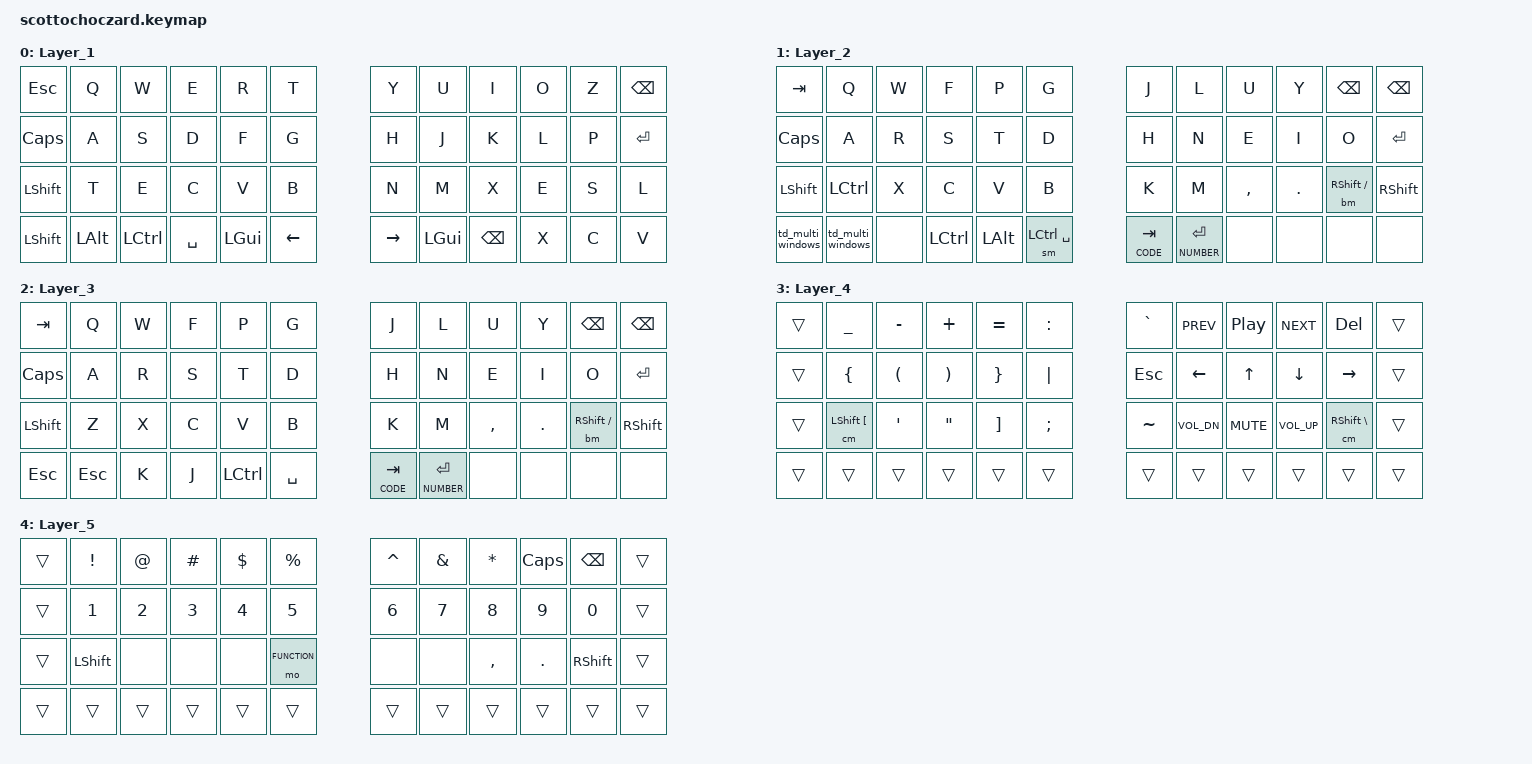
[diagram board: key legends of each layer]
#include <behaviors.dtsi>
#include <dt-bindings/zmk/keys.h>
#include <dt-bindings/zmk/bt.h>
#include <dt-bindings/zmk/keys.h>


#define MAC 0
#define WINDOWS 1
#define GAME 2
#define CODE 3
#define NUMBER 4
#define FUNCTION 5

// Behavior Overrides
&lt {
    tapping-term-ms = <200>;
    flavor = "hold-preferred";
};

/ {
    macros {
        
    };

    behaviors {
       
    };
    
    keymap {
        compatible = "zmk,keymap";

        Layer_1 {
            bindings = <
                &kp ESC       &kp Q         &kp W &kp E     &kp R    &kp T          &kp Y        &kp U            &kp I     &kp O   &kp Z       &kp BSPC
                &kp CAPS      &kp A         &kp S &kp D     &kp F    &kp G          &kp H        &kp J           &kp K     &kp L   &kp P          &kp ENTER
                &kp LSHFT     &kp T   &kp E  &kp C     &kp V    &kp B          &kp N        &kp M            &kp X &kp E  &kp S   &kp L    &kp LSHFT
                &kp LALT    &kp LCTRL   &kp SPACE    &kp LGUI   &kp LEFT    &kp RIGHT           &kp LGUI    &kp BSPC    &kp X   &kp C   &kp V
            >;
        };

        Layer_2 {
            bindings = <
                &kp TAB           &kp Q             &kp W &kp F     &kp P    &kp G           &kp J        &kp L            &kp U     &kp Y   &kp BSPC       &kp BSPC
                &kp CAPS          &kp A             &kp R &kp S     &kp T    &kp D           &kp H        &kp N            &kp E     &kp I   &kp O          &kp ENTER
                &kp LSHFT         &kp LCTRL       &kp X &kp C     &kp V    &kp B           &kp K        &kp M            &kp COMMA &kp DOT &bm RSHFT FSLH &kp RSHFT
                &td_multi_windows &td_multi_windows &none &kp LCTRL &kp LALT &sm LCTRL SPACE &lt CODE TAB &lt NUMBER ENTER &none     &none   &none          &none
            >;
        };

        Layer_3 {
            bindings = <
                &kp TAB   &kp Q   &kp W &kp F  &kp P     &kp G     &kp J        &kp L            &kp U     &kp Y   &kp BSPC       &kp BSPC
                &kp CAPS  &kp A   &kp R &kp S  &kp T     &kp D     &kp H        &kp N            &kp E     &kp I   &kp O          &kp ENTER
                &kp LSHFT &kp Z   &kp X &kp C  &kp V     &kp B     &kp K        &kp M            &kp COMMA &kp DOT &bm RSHFT FSLH &kp RSHFT
                &kp ESC   &kp ESC &kp K &kp J  &kp LCTRL &kp SPACE &lt CODE TAB &lt NUMBER ENTER &none     &none   &none          &none
            >;
        };

        Layer_4 {
            bindings = <
                &trans &kp UNDER      &kp MINUS &kp PLUS &kp EQUAL &kp COLON &kp GRAVE &kp C_PREV   &kp C_PP   &kp C_NEXT   &kp DEL        &trans
                &trans &kp LBRC       &kp LPAR  &kp RPAR &kp RBRC  &kp PIPE  &kp ESC   &kp LEFT     &kp UP     &kp DOWN     &kp RIGHT      &trans
                &trans &cm LSHFT LBKT &kp APOS  &kp DQT  &kp RBKT  &kp SEMI  &kp TILDE &kp C_VOL_DN &kp C_MUTE &kp C_VOL_UP &cm RSHFT BSLH &trans
                &trans &trans         &trans    &trans   &trans    &trans    &trans    &trans       &trans     &trans       &trans         &trans
            >;
        };

        Layer_5 {
            bindings = < 
                &trans &kp EXCL  &kp AT &kp HASH &kp DLLR &kp PRCNT    &kp CARET &kp AMPS &kp ASTERISK &kp CAPS &kp BSPC  &trans
                &trans &kp N1    &kp N2 &kp N3   &kp N4   &kp N5       &kp N6    &kp N7   &kp N8       &kp N9   &kp N0    &trans
                &trans &kp LSHFT &none  &none    &none    &mo FUNCTION &none     &none    &kp COMMA    &kp DOT  &kp RSHFT &trans
                &trans &trans    &trans &trans   &trans   &trans       &trans    &trans   &trans       &trans   &trans    &trans
            >;
        };


    };
};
